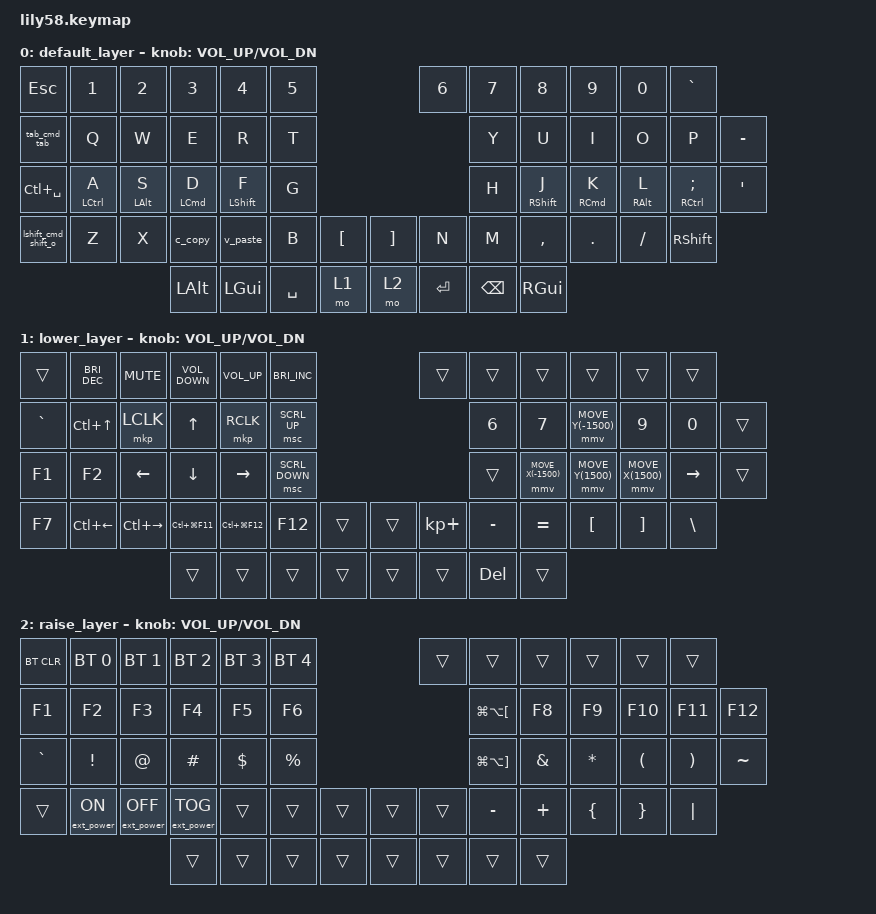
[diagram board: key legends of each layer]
/*
 * Copyright (c) 2020 The ZMK Contributors
 *
 * SPDX-License-Identifier: MIT
 */

#define ZMK_POINTING_DEFAULT_MOVE_VAL 3000  // default: 600, maximum speed for fastest movement
#define ZMK_POINTING_DEFAULT_SCRL_VAL 20   // default: 10, increased for faster scrolling

#include <behaviors.dtsi>
#include <dt-bindings/zmk/bt.h>
#include <dt-bindings/zmk/ext_power.h>
#include <dt-bindings/zmk/keys.h>
#include <dt-bindings/zmk/pointing.h>

/ {
    behaviors {
        hmls: homerow_mods_left_shift {
            compatible = "zmk,behavior-hold-tap";
            label = "HOMEROW_MODS_FOR_LEFT_SHIFT";
            #binding-cells = <2>;
            tapping-term-ms = <130>;
            quick_tap_ms = <0>;
            flavor = "tap-preferred";
            bindings = <&kp>, <&kp>;
        };

        hmrs: homerow_mods_right_shift {
            compatible = "zmk,behavior-hold-tap";
            label = "HOMEROW_MODS_FOR_RIGHT_SHIFT";
            #binding-cells = <2>;
            tapping-term-ms = <120>;
            quick_tap_ms = <0>;
            flavor = "tap-preferred";
            bindings = <&kp>, <&kp>;
        };

        hmlc: homerow_mods_left_cmd {
            compatible = "zmk,behavior-hold-tap";
            label = "HOMEROW_MODS_FOR_LEFT_CMD";
            #binding-cells = <2>;
            tapping-term-ms = <160>;
            quick_tap_ms = <0>;
            flavor = "tap-preferred";
            bindings = <&kp>, <&kp>;
        };

        hmlct: homerow_mods_left_ctrl {
            compatible = "zmk,behavior-hold-tap";
            label = "HOMEROW_MODS_FOR_OTHER";
            #binding-cells = <2>;
            tapping-term-ms = <140>;
            quick_tap_ms = <0>;
            flavor = "tap-preferred";
            bindings = <&kp>, <&kp>;
        };


        hmo: homerow_mods {
            compatible = "zmk,behavior-hold-tap";
            label = "HOMEROW_MODS_FOR_OTHER";
            #binding-cells = <2>;
            tapping-term-ms = <160>;
            quick_tap_ms = <0>;
            flavor = "tap-preferred";
            bindings = <&kp>, <&kp>;
        };

        c_copy: c_copy {
            compatible = "zmk,behavior-tap-dance";
            label = "C_COPY";
            #binding-cells = <0>;
            bindings = <&kp C>, <&kp LG(C)>;
            tapping-term-ms = <150>;
        };

        v_paste: v_paste {
            compatible = "zmk,behavior-tap-dance";
            label = "V_PASTE";
            #binding-cells = <0>;
            bindings = <&kp V>, <&kp LG(V)>;
            tapping-term-ms = <150>;
        };

        o_cmd_shift_o: o_cmd_shift_o {
            compatible = "zmk,behavior-tap-dance";
            label = "O_CMD_SHIFT_O";
            #binding-cells = <0>;
            bindings = <&kp O>, <&kp LG(LS(O))>;
            tapping-term-ms = <150>;
        };

        lshift_cmd_shift_o: lshift_cmd_shift_o {
            compatible = "zmk,behavior-tap-dance";
            label = "LSHIFT_CMD_SHIFT_O";
            #binding-cells = <0>;
            bindings = <&kp LSHFT>, <&kp LG(LS(O))>;
            tapping-term-ms = <200>;
        };

        tab_cmd_tab: tab_cmd_tab {
            compatible = "zmk,behavior-tap-dance";
            label = "TAB_CMD_TAB";
            #binding-cells = <0>;
            bindings = <&kp TAB>, <&kp LG(TAB)>;
            tapping-term-ms = <200>;
        };
    };

    combos {
        compatible = "zmk,combos";
        
        combo_cmd_shift_f {
            timeout-ms = <40>;
            key-positions = <15 28>; // E and F keys positions (corrected)
            bindings = <&kp LG(LS(F))>;
            layers = <0>;
        };
    };

    keymap {
        compatible = "zmk,keymap";

        default_layer {
            // ------------------------------------------------------------------------------------------------------------
            // |  ESC  |  1  |  2  |  3   |  4   |  5   |                   |  6   |  7    |  8    |  9   |   0   |   `   |
            // |  TAB  |  Q  |  W  |  E   |  R   |  T   |                   |  Y   |  U    |  I    |  O   |   P   |   -   |
            // |  CTRL |  A  |  S  |  D   |  F   |  G   |                   |  H   |  J    |  K    |  L   |   ;   |   '   |
            // | SHIFT |  Z  |  X  |  C   |  V   |  B   |   "["  |  |  "]"  |  N   |  M    |  ,    |  .   |   /   | SHIFT |
            //                     | ALT  | GUI  | LOWER|  SPACE |  | ENTER | RAISE| BSPC  | GUI   |

            bindings = <
&kp ESC         &kp N1          &kp N2          &kp N3        &kp N4          &kp N5                            &kp N6     &kp N7               &kp N8                &kp N9            &kp N0                           &kp GRAVE
&tab_cmd_tab    &kp Q           &kp W           &kp E         &kp R           &kp T                             &kp Y      &kp U                &kp I                 &kp O             &kp P                            &kp MINUS
&kp LC(SPACE)   &hmlct LCTRL A  &hmo LALT S     &hmlc LCMD D  &hmls LSHIFT F  &kp G                             &kp H      &hmrs RIGHT_SHIFT J  &hmo RIGHT_COMMAND K  &hmo RIGHT_ALT L  &hmlct RIGHT_CONTROL SEMICOLON   &kp SQT
&lshift_cmd_shift_o  &kp Z           &kp X           &c_copy       &v_paste        &kp B      &kp LBKT    &kp RBKT   &kp N      &kp M                &kp COMMA             &kp DOT           &kp FSLH                         &kp RSHFT
                                                &kp LALT      &kp LGUI        &kp SPACE  &mo 1       &mo 2      &kp ENTER  &kp BSPC             &kp RGUI
            >;

            sensor-bindings = <&inc_dec_kp C_VOL_UP C_VOL_DN>;
        };

        lower_layer {
            // ------------------------------------------------------------------------------------------------------------
            // |       |     |     |      |      |      |                   |      |       |       |      |       |       |
            // |   `   |  1  |  2  |  3   |  4   |  5   |                   |  6   |   7   |   8   |  9   |   0   |       |
            // |   F1  |  F2 |  F3 |  F4  |  F5  |  F6  |                   |      |   <-  |   v   |  ^   |  ->   |       |
            // |   F7  |  F8 |  F9 |  F10 |  F11 |  F12 |        |  |       |  +   |   -   |   =   |  [   |   ]   |   \   |
            //                     |      |      |      |        |  |       |      |       |       |

            bindings = <
&trans     &kp C_BRIGHTNESS_DEC     &kp C_MUTE         &kp C_VOLUME_DOWN  &kp C_VOLUME_UP  &kp C_BRIGHTNESS_INC                       &trans       &trans          &trans          &trans           &trans     &trans
&kp GRAVE  &kp LC(UP_ARROW)         &mkp LCLK          &kp UP_ARROW       &mkp RCLK           &msc SCRL_UP                            &kp N6       &kp N7          &mmv MOVE_Y(-1500)    &kp N9           &kp N0     &trans
&kp F1     &kp F2                   &kp LEFT           &kp DOWN         &kp RIGHT             &msc SCRL_DOWN                          &trans       &mmv MOVE_X(-1500)  &mmv MOVE_Y(1500)  &mmv MOVE_X(1500)  &kp RIGHT  &trans
&kp F7     &kp LC(LEFT)             &kp LC(RIGHT)      &kp LC(LG(F11))  &kp LC(LG(F12))       &kp F12               &trans    &trans  &kp KP_PLUS  &kp MINUS       &kp EQUAL       &kp LBKT         &kp RBKT   &kp BSLH
                                                       &trans           &trans                &trans                &trans    &trans  &trans       &kp DELETE       &trans
            >;

            sensor-bindings = <&inc_dec_kp C_VOL_UP C_VOL_DN>;
        };

        raise_layer {
            // ------------------------------------------------------------------------------------------------------------
            // | BTCLR | BT1 | BT2 |  BT3 |  BT4 |  BT5 |                   |      |       |       |      |       |       |
            // |  F1   |  F2 |  F3 |  F4  |  F5  |  F6  |                   |  F7  |  F8   |  F9   |  F10 |  F11  |  F12  |
            // |   `   |  !  |  @  |  #   |  $   |  %   |                   |  ^   |  &    |  *    |  (   |   )   |   ~   |
            // |       |     |     |      |      |      |        |  |       |      |  _    |  +    |  {   |   }   |  "|"  |
            //                     |      |      |      |        |  |       |      |       |       |

            bindings = <
&bt BT_CLR  &bt BT_SEL 0      &bt BT_SEL 1       &bt BT_SEL 2       &bt BT_SEL 3  &bt BT_SEL 4                    &trans     &trans     &trans     &trans    &trans    &trans
&kp F1      &kp F2            &kp F3             &kp F4             &kp F5        &kp F6                          &kp LG(LA(LEFT_BRACKET))  &kp F8     &kp F9     &kp F10   &kp F11   &kp F12
&kp GRAVE   &kp EXCL          &kp AT             &kp HASH           &kp DOLLAR    &kp PRCNT                       &kp LG(LA(RIGHT_BRACKET))  &kp AMPS   &kp ASTRK  &kp LPAR  &kp RPAR  &kp TILDE
&trans      &ext_power EP_ON  &ext_power EP_OFF  &ext_power EP_TOG  &trans        &trans        &trans    &trans  &trans     &kp MINUS  &kp PLUS   &kp LBRC  &kp RBRC  &kp PIPE
                                                 &trans             &trans        &trans        &trans    &trans  &trans     &trans     &trans
            >;

            sensor-bindings = <&inc_dec_kp C_VOL_UP C_VOL_DN>;
        };
    };
};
